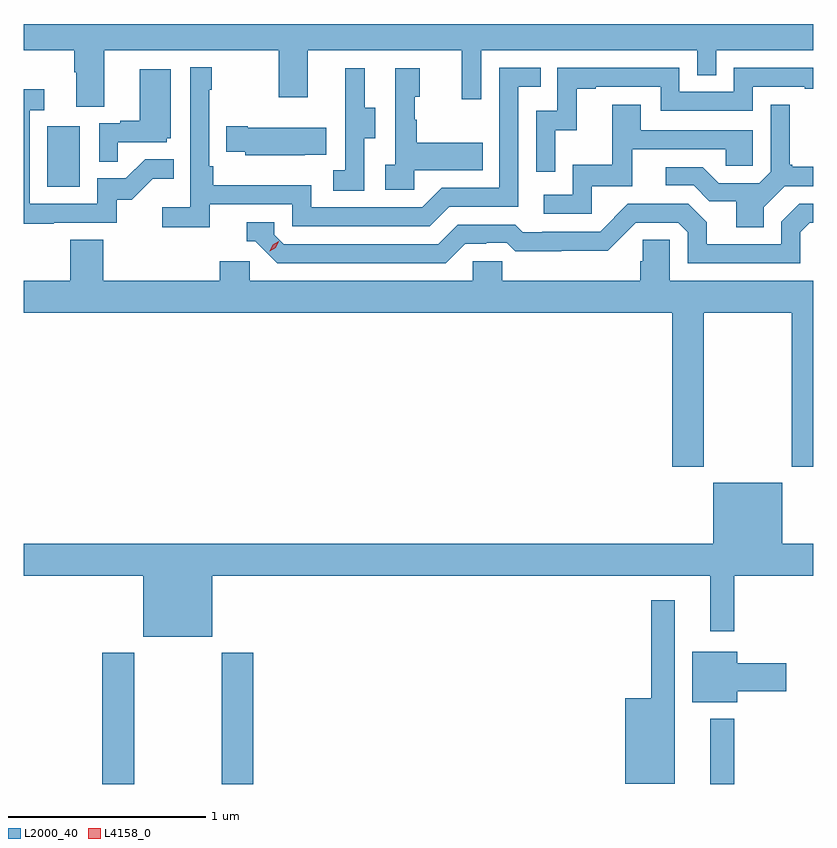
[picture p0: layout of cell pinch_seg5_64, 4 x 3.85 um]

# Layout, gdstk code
import gdstk
lib = gdstk.Library(unit=1e-6, precision=1e-09)
def R(c, l, rs):  # rectangles x0, y0, x1, y1
    for r in rs: c.add(gdstk.rectangle(r[:2], r[2:], *l))
def P(c, l, *ps):  # polygons
    for p in ps: c.add(gdstk.Polygon(p, *l))
L2000_40 = (2000, 40)
L4158_0 = (4158, 0)

pinch_seg5_64 = lib.new_cell('pinch_seg5_64')
R(pinch_seg5_64, L2000_40, [(1059.815,911.65,1059.975,912.316), (1060.42,911.65,1060.58,912.316), (1062.893,911.65,1063.015,911.98), (1059.536,914.676,1059.7,914.983)])
P(pinch_seg5_64, L2000_40, [(1059.823,915.368),(1060.708,915.368),(1060.708,915.129),(1060.855,915.129),(1060.855,915.368),(1061.636,915.368),(1061.636,915.12),(1061.733,915.12),(1061.733,915.368),(1062.828,915.368),(1062.828,915.241),(1062.924,915.241),(1062.924,915.368),(1063.416,915.368),(1063.416,915.5),(1059.416,915.5),(1059.416,915.368),(1059.671,915.368),(1059.671,915.256),(1059.683,915.256),(1059.683,915.082),(1059.823,915.082)],
  [(1060.358,914.586),(1060.776,914.586),(1060.776,914.475),(1061.473,914.475),(1061.572,914.574),(1061.922,914.574),(1061.922,915.183),(1062.035,915.183),(1062.035,915.279),(1061.826,915.279),(1061.826,914.67),(1061.535,914.67),(1061.436,914.571),(1060.872,914.571),(1060.872,914.683),(1060.376,914.683),(1060.376,914.779),(1060.356,914.779),(1060.356,915.167),(1060.369,915.167),(1060.369,915.28),(1060.26,915.28),(1060.26,914.572),(1060.119,914.572),(1060.119,914.47),(1060.358,914.47)],
  [(1062.108,914.963),(1062.218,914.963),(1062.218,915.171),(1062.313,915.171),(1062.313,915.183),(1062.642,915.183),(1062.642,915.06),(1063.11,915.06),(1063.11,915.183),(1063.373,915.183),(1063.373,915.171),(1063.416,915.171),(1063.416,915.279),(1063.014,915.279),(1063.014,915.156),(1062.738,915.156),(1062.738,915.279),(1062.12,915.279),(1062.12,915.06),(1062.012,915.06),(1062.012,914.751),(1062.108,914.751)],
  [(1061.142,914.92),(1061.197,914.92),(1061.197,915.075),(1061.143,915.075),(1061.143,915.277),(1061.045,915.277),(1061.045,915.063),(1061.046,915.063),(1061.046,914.759),(1060.983,914.759),(1060.983,914.656),(1061.142,914.656)],
  [(1061.394,914.759),(1061.741,914.759),(1061.741,914.899),(1061.407,914.899),(1061.407,915.014),(1061.397,915.014),(1061.397,915.132),(1061.422,915.132),(1061.422,915.277),(1061.298,915.277),(1061.298,914.786),(1061.247,914.786),(1061.247,914.661),(1061.394,914.661)],
  [(1059.893,914.901),(1060.14,914.901),(1060.14,914.922),(1060.162,914.922),(1060.162,915.271),(1060.004,915.271),(1060.004,915.01),(1059.905,915.01),(1059.905,914.997),(1059.798,914.997),(1059.798,914.803),(1059.893,914.803)],
  [(1059.569,914.493),(1059.888,914.493),(1059.888,914.61),(1059.964,914.61),(1060.071,914.717),(1060.175,914.717),(1060.175,914.816),(1060.031,914.816),(1059.933,914.718),(1059.789,914.718),(1059.789,914.589),(1059.447,914.589),(1059.447,915.063),(1059.52,915.063),(1059.52,915.169),(1059.416,915.169),(1059.416,914.488),(1059.569,914.488)],
  [(1063.165,914.572),(1063.272,914.679),(1063.416,914.679),(1063.416,914.776),(1063.309,914.776),(1063.309,914.788),(1063.297,914.788),(1063.297,915.091),(1063.2,915.091),(1063.2,914.751),(1063.143,914.694),(1062.937,914.694),(1062.856,914.775),(1062.669,914.775),(1062.669,914.682),(1062.81,914.682),(1062.89,914.602),(1063.025,914.602),(1063.025,914.47),(1063.165,914.47)],
  [(1062.294,914.679),(1062.499,914.679),(1062.499,914.865),(1062.973,914.865),(1062.973,914.781),(1063.11,914.781),(1063.11,914.961),(1062.541,914.961),(1062.541,915.091),(1062.397,915.091),(1062.397,914.788),(1062.198,914.788),(1062.198,914.634),(1062.051,914.634),(1062.051,914.538),(1062.294,914.538)],
  [(1060.841,914.837),(1060.949,914.837),(1060.949,914.974),(1060.552,914.974),(1060.552,914.982),(1060.441,914.982),(1060.441,914.852),(1060.539,914.852),(1060.539,914.834),(1060.841,914.834)],
  [(1061.653,914.388),(1061.76,914.388),(1061.76,914.391),(1061.863,914.391),(1061.905,914.349),(1062.138,914.349),(1062.138,914.351),(1062.374,914.351),(1062.516,914.493),(1062.732,914.493),(1062.78,914.445),(1062.78,914.289),(1063.35,914.289),(1063.35,914.445),(1063.398,914.493),(1063.416,914.493),(1063.416,914.589),(1063.344,914.589),(1063.254,914.499),(1063.254,914.385),(1062.877,914.385),(1062.877,914.495),(1062.783,914.589),(1062.477,914.589),(1062.336,914.448),(1062.043,914.448),(1062.043,914.445),(1061.944,914.445),(1061.905,914.484),(1061.616,914.484),(1061.517,914.385),(1060.734,914.385),(1060.686,914.433),(1060.686,914.496),(1060.547,914.496),(1060.547,914.4),(1060.59,914.4),(1060.701,914.289),(1061.554,914.289)],
  [(1062.861,914.036),(1063.306,914.036),(1063.306,913.257),(1063.416,913.257),(1063.416,914.2),(1062.69,914.2),(1062.69,914.408),(1062.553,914.408),(1062.553,914.298),(1062.539,914.298),(1062.539,914.2),(1061.841,914.2),(1061.841,914.298),(1061.691,914.298),(1061.691,914.2),(1060.56,914.2),(1060.56,914.298),(1060.409,914.298),(1060.409,914.2),(1059.818,914.2),(1059.818,914.408),(1059.653,914.408),(1059.653,914.2),(1059.416,914.2),(1059.416,914.036),(1062.701,914.036),(1062.701,913.257),(1062.861,913.257)],
  [(1060.372,912.704),(1062.893,912.704),(1062.893,912.423),(1063.015,912.423),(1063.015,912.704),(1063.416,912.704),(1063.416,912.868),(1063.258,912.868),(1063.258,913.177),(1062.908,913.177),(1062.908,912.868),(1059.416,912.868),(1059.416,912.704),(1060.022,912.704),(1060.022,912.395),(1060.372,912.395)],
  [(1062.715,912.58),(1062.594,912.58),(1062.594,912.085),(1062.464,912.085),(1062.464,911.651),(1062.715,911.651)],
  [(1063.03,912.119),(1063.279,912.119),(1063.279,912.261),(1063.03,912.261),(1063.03,912.319),(1062.803,912.319),(1062.803,912.065),(1063.03,912.065)])
P(pinch_seg5_64, L4158_0, [(1060.662,914.348),(1060.662,914.348),(1060.678,914.381),(1060.708,914.4),(1060.709,914.4),(1060.709,914.4),(1060.693,914.367),(1060.662,914.348)])

lib.write_gds('pinch_seg5_64.gds')
